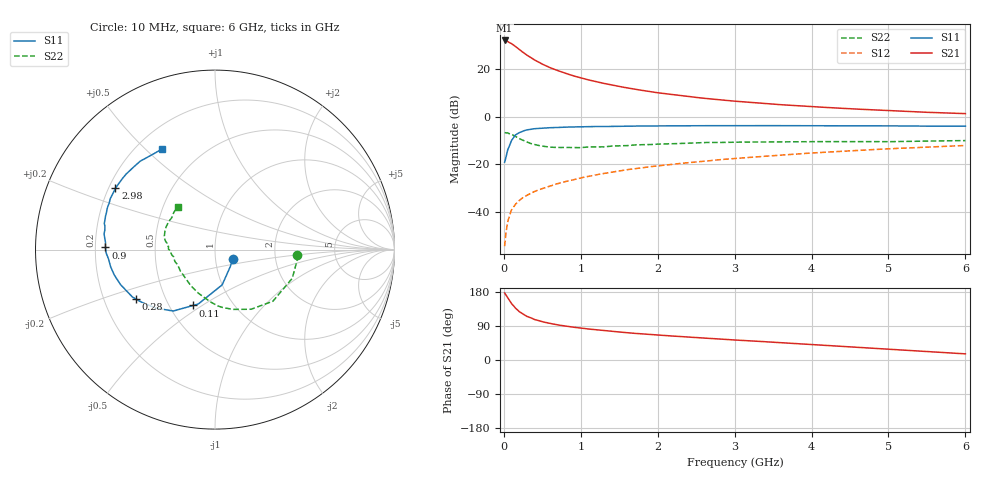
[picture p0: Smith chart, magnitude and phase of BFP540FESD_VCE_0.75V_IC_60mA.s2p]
! Infineon Technologies  Discrete & RF Semiconductors
! BFP540FESD
! VCE = 0.75 V,  IC =  60 mA
! Common Emitter S-Parameters:  Nov 2015
# GHz  S  MA  R  50
!  f  S11  S21  S12  S22
! GHz  MAG  ANG  MAG  ANG  MAG  ANG  MAG  ANG
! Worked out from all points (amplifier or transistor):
!   210 points, 10 MHz to 6 GHz, reference 50 ohm
!   highest |S21| = 32.1 dB at 10 MHz (marker M1)
!   |S21| within 3 dB of that: start of sweep to 169.8 MHz
!   unconditionally stable (mu >= 1): start of sweep to 107.6 MHz; 497.8 MHz to end of sweep
!   at 185 MHz: K = 0.88, MSG = 32.2 dB, |S12| = -35.7 dB
!   at 1.52 GHz: K = 1.18, MAG = 15.1 dB, |S12| = -22.7 dB
!   at 6 GHz: K = 1.25, MAG = 3.7 dB, |S12| = -12.1 dB
!   S11 on the Smith chart (normalised r, x): 10 MHz: 1.21, -0.12; 110 MHz: 0.66, -0.46; 280 MHz: 0.34, -0.26; 900 MHz: 0.24, +0.01; 2.98 GHz: 0.23, +0.27; 6 GHz: 0.30, +0.56
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0.01  0.1111 -27.0  40.27 177.0  0.0019 103.5  0.4576 -4.1
0.02  0.1271 -47.8  38.93 173.7  0.0027 90.0  0.4631 -6.1
0.05  0.2004 -78.5  38.32 164.1  0.0061 87.2  0.4591 -20.4
0.1  0.3171 -107.1  34.56 148.8  0.011 75.2  0.4322 -41.7
0.11  0.3337 -111.3  33.59 146.7  0.0117 73.5  0.4206 -44.8
0.15  0.4137 -124.2  30.23 136.9  0.0144 68.4  0.3885 -58.8
0.2  0.463 -135.2  26.08 127.7  0.0173 63.5  0.348 -73.2
0.24  0.4929 -142.3  23.25 122.3  0.0195 62.0  0.3249 -82.7
0.28  0.5182 -147.8  20.87 117.5  0.0214 61.8  0.3034 -90.6
0.3  0.5307 -150.2  19.77 115.1  0.0223 61.8  0.2935 -94.5
0.4  0.5614 -159.7  15.62 106.8  0.0269 61.1  0.2605 -110.5
0.5  0.5788 -165.9  12.8 100.9  0.0307 62.8  0.2421 -123.8
0.7  0.5954 -174.9  9.36 92.6  0.0393 63.3  0.2258 -140.6
0.9  0.6103 178.9  7.289 86.7  0.0471 63.9  0.2253 -153.3
1.02  0.6127 175.8  6.443 83.7  0.0526 63.3  0.2261 -159.1
1.5  0.6339 166.7  4.329 73.9  0.0723 62.2  0.2457 -174.9
2.02  0.6433 158.6  3.17 65.6  0.0932 59.3  0.2668 175.0
2.98  0.6514 148.4  2.145 53.1  0.1317 53.4  0.292 164.9
3.1  0.651 147.2  2.07 51.7  0.1363 52.4  0.2932 163.9
4.1  0.6486 138.6  1.601 39.6  0.1767 45.0  0.3002 154.0
5.1  0.6425 129.0  1.33 27.2  0.2157 35.5  0.3013 142.2
6  0.6334 118.0  1.165 16.2  0.2491 26.8  0.3156 131.2
